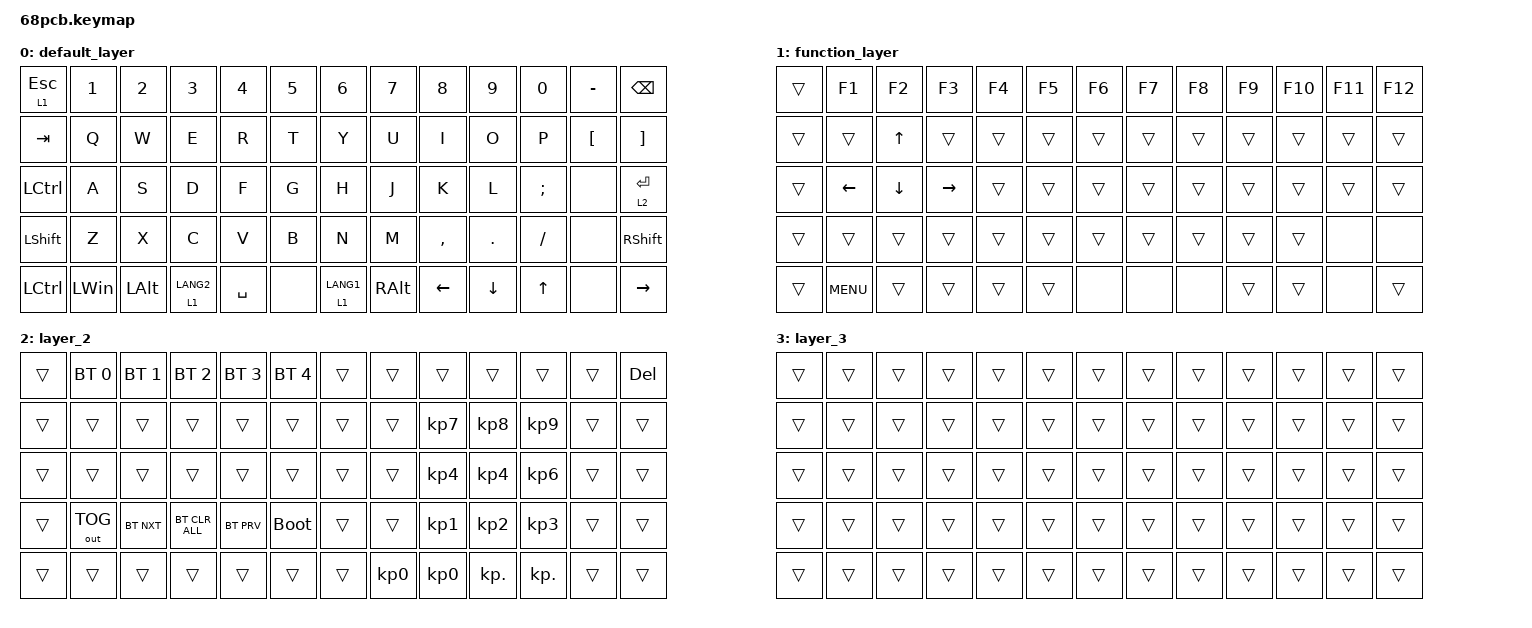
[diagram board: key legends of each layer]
/*
 * Copyright (c) 2020 The ZMK Contributors
 *
 * SPDX-License-Identifier: MIT
 */

#include "unicode.h"
#include "keycode_japanese.h"
#include <behaviors.dtsi>
#include <dt-bindings/zmk/bt.h>
#include <dt-bindings/zmk/keys.h>
#include <dt-bindings/zmk/outputs.h>
#include <dt-bindings/zmk/pointing.h>

#define ZMK_POINTING_DEFAULT_MOVE_VAL 1500  // default: 600
#define ZMK_POINTING_DEFAULT_SCRL_VAL 20    // default: 10


&lt { quick_tap_ms = <220>; };

&mt { quick_tap_ms = <220>; };


#define DEF 0
#define FUN 1

/ {
    keymap {
        compatible = "zmk,keymap";

        default_layer {
            bindings = <
&lt 1 ESCAPE      &kp NUMBER_1  &kp NUMBER_2  &kp NUMBER_3  &kp NUMBER_4  &kp NUMBER_5  &kp NUMBER_6  &kp NUMBER_7   &kp NUMBER_8  &kp NUMBER_9  &kp NUMBER_0   &kp MINUS         &kp BACKSPACE
&kp TAB           &kp Q         &kp W         &kp E         &kp R         &kp T         &kp Y         &kp U          &kp I         &kp O         &kp P          &kp LEFT_BRACKET  &kp RIGHT_BRACKET
&kp LEFT_CONTROL  &kp A         &kp S         &kp D         &kp F         &kp G         &kp H         &kp J          &kp K         &kp L         &kp SEMICOLON  &none             &lt 2 RETURN
&kp LEFT_SHIFT    &kp Z         &kp X         &kp C         &kp V         &kp B         &kp N         &kp M          &kp COMMA     &kp PERIOD    &kp SLASH      &none             &kp RIGHT_SHIFT
&kp LEFT_CONTROL  &kp LEFT_WIN  &kp LEFT_ALT  &lt 1 LANG2   &kp SPACE     &none         &lt 1 LANG1   &kp RIGHT_ALT  &kp LEFT      &kp DOWN      &kp UP         &none             &kp RIGHT
            >;
        };

        function_layer {
            bindings = <
&trans  &kp F1      &kp F2    &kp F3     &kp F4  &kp F5  &kp F6  &kp F7  &kp F8  &kp F9  &kp F10  &kp F11  &kp F12
&trans  &trans      &kp UP    &trans     &trans  &trans  &trans  &trans  &trans  &trans  &trans   &trans   &trans
&trans  &kp LEFT    &kp DOWN  &kp RIGHT  &trans  &trans  &trans  &trans  &trans  &trans  &trans   &trans   &trans
&trans  &trans      &trans    &trans     &trans  &trans  &trans  &trans  &trans  &trans  &trans   &none    &none
&trans  &kp C_MENU  &trans    &trans     &trans  &trans  &none   &none   &none   &trans  &trans   &none    &trans
            >;
        };

        layer_2 {
            bindings = <
&trans  &bt BT_SEL 0  &bt BT_SEL 1  &bt BT_SEL 2    &bt BT_SEL 3  &bt BT_SEL 4  &trans  &trans           &trans           &trans           &trans           &trans  &kp DELETE
&trans  &trans        &trans        &trans          &trans        &trans        &trans  &trans           &kp KP_NUMBER_7  &kp KP_NUMBER_8  &kp KP_NUMBER_9  &trans  &trans
&trans  &trans        &trans        &trans          &trans        &trans        &trans  &trans           &kp KP_NUMBER_4  &kp KP_NUMBER_4  &kp KP_NUMBER_6  &trans  &trans
&trans  &out OUT_TOG  &bt BT_NXT    &bt BT_CLR_ALL  &bt BT_PRV    &bootloader   &trans  &trans           &kp KP_NUMBER_1  &kp KP_NUMBER_2  &kp KP_NUMBER_3  &trans  &trans
&trans  &trans        &trans        &trans          &trans        &trans        &trans  &kp KP_NUMBER_0  &kp KP_NUMBER_0  &kp KP_DOT       &kp KP_DOT       &trans  &trans
            >;
        };

        layer_3 {
            bindings = <
&trans  &trans  &trans  &trans  &trans  &trans  &trans  &trans  &trans  &trans  &trans  &trans  &trans
&trans  &trans  &trans  &trans  &trans  &trans  &trans  &trans  &trans  &trans  &trans  &trans  &trans
&trans  &trans  &trans  &trans  &trans  &trans  &trans  &trans  &trans  &trans  &trans  &trans  &trans
&trans  &trans  &trans  &trans  &trans  &trans  &trans  &trans  &trans  &trans  &trans  &trans  &trans
&trans  &trans  &trans  &trans  &trans  &trans  &trans  &trans  &trans  &trans  &trans  &trans  &trans
            >;
        };
    };
};
